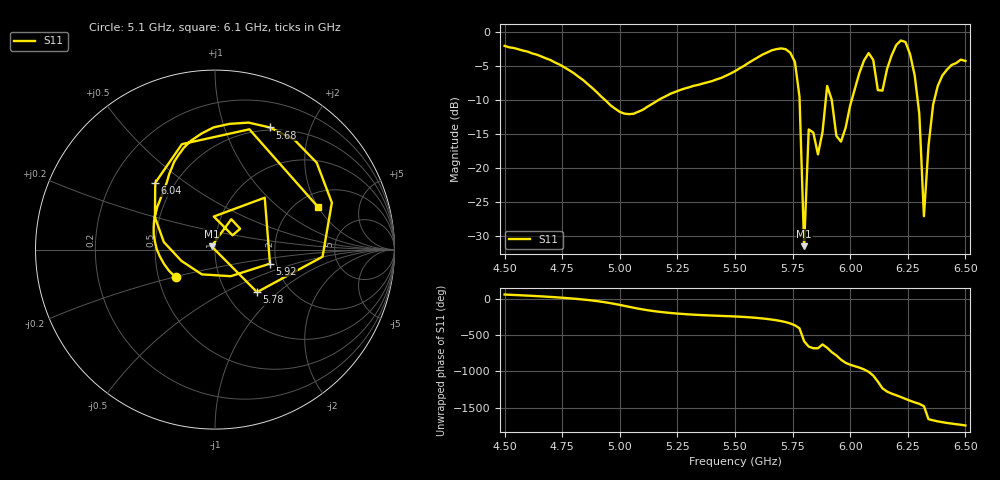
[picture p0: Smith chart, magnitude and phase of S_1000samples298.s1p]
! TOUCHSTONE file generated by CST MICROWAVE STUDIO
! Date and time: Thu Oct 27 16:37:36 2022
! Project name: L.cst
! Parameters = {Di=1.27; Epsilon_r=1.56; InnerDiameter=1.27; Length=2; Lf=10; Lg=60; OuterConductorThickness=0.2921; OuterDiameter=3.6; Wf=3; Wp=41.2; de=1.5; df=6.8; g=0.8; gx=3.48083; gy=1.70486; h=2.34; hf=1.524; px=14.3082; py=14.037; w=9.7; wx=10.8274; wy=12.3321}
! Header version: 2018
! Port assignment regex: !\s*Touchstone port\s*([0-9]+)\s*=\s*(CST MWS port|CST DS port)\s*([0-9]+|Zmin|Zmax)\s*\(\"(.*)\"\)(\s*mode\s*([0-9]+))?.*
! Touchstone port assignment:
! Touchstone port 1 = CST MWS port 1 ("")
# GHz S DB R 50
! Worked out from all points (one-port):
!   101 points, 4.5 GHz to 6.5 GHz, reference 50 ohm
!   lowest |S11| = -31.5 dB at 5.8 GHz (marker M1), VSWR 1.05, Z = 48.1 + j1.77 ohm
!   |S11| at or under -10 dB: 4.936 GHz to 5.169 GHz (233.2 MHz wide, 4.62 % of centre); 5.78 GHz to 5.894 GHz (113.5 MHz wide, 1.94 % of centre); 5.92 GHz to 6.007 GHz (86.75 MHz wide, 1.45 % of centre) (the widest 3 of 4)
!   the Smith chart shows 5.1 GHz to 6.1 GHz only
!   S11 on the Smith chart (normalised r, x): 5.1 GHz: 0.61, -0.20; 5.68 GHz: 0.47, +1.44; 5.78 GHz: 1.38, -0.74; 5.92 GHz: 1.85, -0.32; 6.04 GHz: 0.39, +0.39; 6.1 GHz: 2.61, +2.00
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4.5  -2.07 60.9
4.76  -5.23 14.7
5  -11.76 -82.1
5.1  -11.44 -144.8
5.26  -8.57 155.7
5.5  -5.78 118.0
5.68  -2.54 65.8
5.76  -4.43 -3.8
5.78  -9.55 -45.3
5.8  -31.47 136.4
5.82  -14.33 61.8
5.86  -18.00 39.2
5.9  -7.95 46.2
5.92  -10.00 -14.3
5.96  -16.12 -118.0
6  -10.81 171.6
6.04  -6.04 131.8
6.08  -3.13 74.0
6.1  -4.12 22.2
6.12  -8.57 -60.6
6.16  -5.46 161.3
6.22  -1.27 85.9
6.26  -3.30 35.1
6.3  -12.05 -8.0
6.32  -27.07 -40.4
6.34  -16.70 140.2
6.38  -7.96 109.6
6.5  -4.28 53.6
